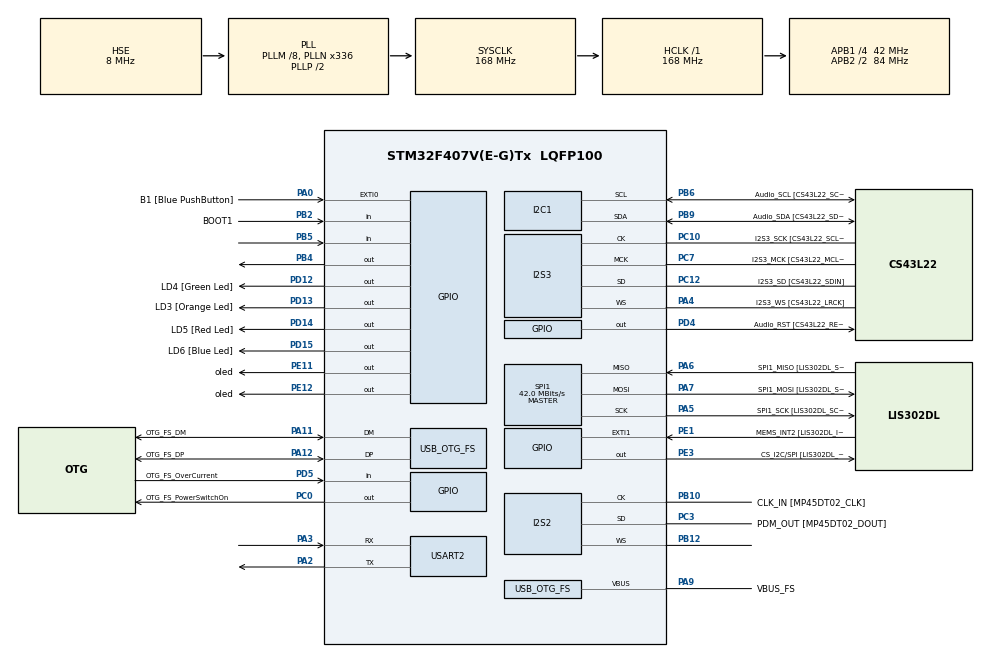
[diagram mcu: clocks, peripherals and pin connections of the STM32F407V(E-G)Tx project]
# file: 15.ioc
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Dma.Request0=SPI2_RX
Dma.Request1=SPI3_TX
Dma.SPI2_RX.0.Direction=DMA_PERIPH_TO_MEMORY
Dma.SPI2_RX.0.FIFOMode=DMA_FIFOMODE_DISABLE
Dma.SPI2_RX.0.Instance=DMA1_Stream3
Dma.SPI2_RX.0.MemDataAlignment=DMA_MDATAALIGN_HALFWORD
Dma.SPI2_RX.0.MemInc=DMA_MINC_ENABLE
Dma.SPI2_RX.0.Mode=DMA_CIRCULAR
Dma.SPI2_RX.0.PeriphDataAlignment=DMA_PDATAALIGN_HALFWORD
Dma.SPI2_RX.0.PeriphInc=DMA_PINC_DISABLE
Dma.SPI2_RX.0.Priority=DMA_PRIORITY_VERY_HIGH
Dma.SPI3_TX.1.Direction=DMA_MEMORY_TO_PERIPH
Dma.SPI3_TX.1.FIFOMode=DMA_FIFOMODE_DISABLE
Dma.SPI3_TX.1.Instance=DMA1_Stream5
Dma.SPI3_TX.1.MemDataAlignment=DMA_MDATAALIGN_HALFWORD
Dma.SPI3_TX.1.MemInc=DMA_MINC_ENABLE
Dma.SPI3_TX.1.Mode=DMA_NORMAL
Dma.SPI3_TX.1.PeriphDataAlignment=DMA_PDATAALIGN_HALFWORD
Dma.SPI3_TX.1.PeriphInc=DMA_PINC_DISABLE
Dma.SPI3_TX.1.Priority=DMA_PRIORITY_HIGH
FREERTOS.Tasks01=defaultTask,24,128,StartDefaultTask,Default,NULL,Dynamic,NULL,NULL
I2S2.AudioFreq=I2S_AUDIOFREQ_44K
I2S2.CPOL=I2S_CPOL_HIGH
I2S2.ErrorAudioFreq=0.26 %
I2S2.FullDuplexMode=I2S_FULLDUPLEXMODE_DISABLE
I2S2.Instance=SPI$Index
I2S2.Mode=I2S_MODE_MASTER_RX
I2S2.RealAudioFreq=44.117 KHz
I2S2.VirtualMode=I2S_MODE_MASTER
I2S3.AudioFreq=I2S_AUDIOFREQ_44K
I2S3.AudioFreq-Half_Duplex_Master=I2S_AUDIOFREQ_96K
I2S3.CPOL=I2S_CPOL_LOW
I2S3.ErrorAudioFreq=-5.3 %
I2S3.ErrorAudioFreq-Half_Duplex_Master=0.8 %
I2S3.FullDuplexMode=I2S_FULLDUPLEXMODE_DISABLE
I2S3.Instance=SPI$Index
I2S3.RealAudioFreq=41.666 KHz
I2S3.RealAudioFreq-Half_Duplex_Master=96.774 KHz
I2S3.VirtualMode=I2S_MODE_MASTER
Mcu.Family=STM32F4
Mcu.Name=STM32F407V(E-G)Tx
Mcu.Package=LQFP100
NVIC.DMA1_Stream3_IRQn=true\:5\:0\:false\:false\:true\:true\:false\:true\:true
NVIC.DMA1_Stream5_IRQn=true\:5\:0\:false\:false\:true\:true\:false\:true\:true
NVIC.OTG_FS_IRQn=true\:5\:0\:false\:false\:true\:true\:true\:true\:true
NVIC.PriorityGroup=NVIC_PRIORITYGROUP_4
NVIC.SPI2_IRQn=true\:5\:0\:false\:false\:true\:true\:true\:true\:true
NVIC.SPI3_IRQn=true\:5\:0\:false\:false\:true\:true\:true\:true\:true
NVIC.TIM8_TRG_COM_TIM14_IRQn=true\:15\:0\:false\:false\:true\:false\:false\:true\:true
NVIC.TimeBase=TIM8_TRG_COM_TIM14_IRQn
NVIC.TimeBaseIP=TIM14
NVIC.USART2_IRQn=true\:5\:0\:false\:false\:true\:true\:true\:true\:true
PA0-WKUP.GPIO_Label=B1 [Blue PushButton]
PA0-WKUP.GPIO_ModeDefaultEXTI=GPIO_MODE_EVT_RISING
PA0-WKUP.GPIO_PuPd=GPIO_NOPULL
PA0-WKUP.Signal=GPXTI0
PA10.GPIO_Label=OTG_FS_ID
PA10.GPIO_Mode=GPIO_MODE_AF_PP
PA10.GPIO_PuPd=GPIO_NOPULL
PA10.GPIO_Speed=GPIO_SPEED_FREQ_LOW
PA10.Signal=USB_OTG_FS_ID
PA11.GPIO_Label=OTG_FS_DM
PA11.GPIO_Mode=GPIO_MODE_AF_PP
PA11.GPIO_PuPd=GPIO_NOPULL
PA11.GPIO_Speed=GPIO_SPEED_FREQ_LOW
PA11.Mode=Host_Only
PA11.Signal=USB_OTG_FS_DM
PA12.GPIO_Label=OTG_FS_DP
PA12.GPIO_Mode=GPIO_MODE_AF_PP
PA12.GPIO_PuPd=GPIO_NOPULL
PA12.GPIO_Speed=GPIO_SPEED_FREQ_LOW
PA12.Mode=Host_Only
PA12.Signal=USB_OTG_FS_DP
PA13.GPIO_Label=SWDIO
PA13.Mode=Serial_Wire
PA13.Signal=SYS_JTMS-SWDIO
PA14.GPIO_Label=SWCLK
PA14.Mode=Serial_Wire
PA14.Signal=SYS_JTCK-SWCLK
PA2.Mode=Asynchronous
PA2.Signal=USART2_TX
PA3.Mode=Asynchronous
PA3.Signal=USART2_RX
PA4.GPIO_Label=I2S3_WS [CS43L22_LRCK]
PA4.GPIO_Mode=GPIO_MODE_AF_PP
PA4.GPIO_PuPd=GPIO_NOPULL
PA4.GPIO_Speed=GPIO_SPEED_FREQ_LOW
PA4.Mode=Half_Duplex_Master
PA4.Signal=I2S3_WS
PA5.GPIO_Label=SPI1_SCK [LIS302DL_SCL/SPC]
PA5.GPIO_Mode=GPIO_MODE_AF_PP
PA5.GPIO_PuPd=GPIO_NOPULL
PA5.GPIO_Speed=GPIO_SPEED_FREQ_LOW
PA5.Mode=Full_Duplex_Master
PA5.Signal=SPI1_SCK
PA6.GPIO_Label=SPI1_MISO [LIS302DL_SDO]
PA6.GPIO_Mode=GPIO_MODE_AF_PP
PA6.GPIO_PuPd=GPIO_NOPULL
PA6.GPIO_Speed=GPIO_SPEED_FREQ_LOW
PA6.Mode=Full_Duplex_Master
PA6.Signal=SPI1_MISO
PA7.GPIO_Label=SPI1_MOSI [LIS302DL_SDA/SDI/SDO]
PA7.GPIO_Mode=GPIO_MODE_AF_PP
PA7.GPIO_PuPd=GPIO_NOPULL
PA7.GPIO_Speed=GPIO_SPEED_FREQ_LOW
PA7.Mode=Full_Duplex_Master
PA7.Signal=SPI1_MOSI
PA9.GPIO_Label=VBUS_FS
PA9.GPIO_Mode=GPIO_MODE_INPUT
PA9.GPIO_PuPd=GPIO_NOPULL
PA9.Mode=Activate_VBUS
PA9.Signal=USB_OTG_FS_VBUS
PB10.GPIO_Label=CLK_IN [MP45DT02_CLK]
PB10.GPIO_Mode=GPIO_MODE_AF_PP
PB10.GPIO_PuPd=GPIO_NOPULL
PB10.GPIO_Speed=GPIO_SPEED_FREQ_LOW
PB10.Mode=Half_Duplex_Master
PB10.Signal=I2S2_CK
PB12.Mode=Half_Duplex_Master
PB12.Signal=I2S2_WS
PB2.GPIO_Label=BOOT1
PB2.GPIO_Mode=GPIO_MODE_INPUT
PB2.GPIO_PuPd=GPIO_NOPULL
PB2.Signal=GPIO_Input
PB3.GPIO_Label=SWO
PB3.Signal=SYS_JTDO-SWO
PB4.Signal=GPIO_Output
PB5.GPIO_PuPd=GPIO_PULLDOWN
PB5.Signal=GPIO_Input
PB6.GPIO_Label=Audio_SCL [CS43L22_SCL]
PB6.GPIO_Mode=GPIO_MODE_AF_OD
PB6.GPIO_Pu=GPIO_NOPULL
PB6.GPIO_PuPd=GPIO_NOPULL
PB6.GPIO_Speed=GPIO_SPEED_FREQ_LOW
PB6.Mode=I2C
PB6.Signal=I2C1_SCL
PB9.GPIO_Label=Audio_SDA [CS43L22_SDA]
PB9.GPIO_Mode=GPIO_MODE_AF_OD
PB9.GPIO_Pu=GPIO_NOPULL
PB9.GPIO_PuPd=GPIO_NOPULL
PB9.GPIO_Speed=GPIO_SPEED_FREQ_LOW
PB9.Mode=I2C
PB9.Signal=I2C1_SDA
PC0.GPIO_Label=OTG_FS_PowerSwitchOn
PC0.GPIO_PuPd=GPIO_NOPULL
PC0.GPIO_Speed=GPIO_SPEED_FREQ_LOW
PC0.PinState=GPIO_PIN_SET
PC0.Signal=GPIO_Output
PC10.GPIO_Label=I2S3_SCK [CS43L22_SCLK]
PC10.GPIO_Mode=GPIO_MODE_AF_PP
PC10.GPIO_PuPd=GPIO_NOPULL
PC10.GPIO_Speed=GPIO_SPEED_FREQ_LOW
PC10.Mode=Half_Duplex_Master
PC10.Signal=I2S3_CK
PC12.GPIO_Label=I2S3_SD [CS43L22_SDIN]
PC12.GPIO_Mode=GPIO_MODE_AF_PP
PC12.GPIO_PuPd=GPIO_NOPULL
PC12.GPIO_Speed=GPIO_SPEED_FREQ_LOW
PC12.Mode=Half_Duplex_Master
PC12.Signal=I2S3_SD
PC14-OSC32_IN.GPIO_Label=PC14-OSC32_IN
PC14-OSC32_IN.Mode=LSE-External-Oscillator
PC14-OSC32_IN.Signal=RCC_OSC32_IN
PC15-OSC32_OUT.GPIO_Label=PC15-OSC32_OUT
PC15-OSC32_OUT.Mode=LSE-External-Oscillator
PC15-OSC32_OUT.Signal=RCC_OSC32_OUT
PC3.GPIO_Label=PDM_OUT [MP45DT02_DOUT]
PC3.GPIO_Mode=GPIO_MODE_AF_PP
PC3.GPIO_PuPd=GPIO_NOPULL
PC3.GPIO_Speed=GPIO_SPEED_FREQ_LOW
PC3.Mode=Half_Duplex_Master
PC3.Signal=I2S2_SD
PC7.GPIO_Label=I2S3_MCK [CS43L22_MCLK]
PC7.GPIO_Mode=GPIO_MODE_AF_PP
PC7.GPIO_PuPd=GPIO_NOPULL
PC7.GPIO_Speed=GPIO_SPEED_FREQ_LOW
PC7.Mode=Master_Clock_Activated
PC7.Signal=I2S3_MCK
PD12.GPIO_Label=LD4 [Green Led]
PD12.GPIO_PuPd=GPIO_NOPULL
PD12.GPIO_Speed=GPIO_SPEED_FREQ_LOW
PD12.Signal=GPIO_Output
PD13.GPIO_Label=LD3 [Orange Led]
PD13.GPIO_PuPd=GPIO_NOPULL
PD13.GPIO_Speed=GPIO_SPEED_FREQ_LOW
PD13.Signal=GPIO_Output
PD14.GPIO_Label=LD5 [Red Led]
PD14.GPIO_PuPd=GPIO_NOPULL
PD14.GPIO_Speed=GPIO_SPEED_FREQ_LOW
PD14.Signal=GPIO_Output
PD15.GPIO_Label=LD6 [Blue Led]
PD15.GPIO_PuPd=GPIO_NOPULL
PD15.GPIO_Speed=GPIO_SPEED_FREQ_LOW
PD15.Signal=GPIO_Output
PD4.GPIO_Label=Audio_RST [CS43L22_RESET]
PD4.GPIO_PuPd=GPIO_NOPULL
PD4.GPIO_Speed=GPIO_SPEED_FREQ_LOW
PD4.Signal=GPIO_Output
PD5.GPIO_Label=OTG_FS_OverCurrent
PD5.GPIO_Mode=GPIO_MODE_INPUT
PD5.GPIO_PuPd=GPIO_NOPULL
PD5.Signal=GPIO_Input
PE1.GPIO_Label=MEMS_INT2 [LIS302DL_INT2]
PE1.GPIO_ModeDefaultEXTI=GPIO_MODE_EVT_RISING
PE1.GPIO_PuPd=GPIO_NOPULL
PE1.Signal=GPXTI1
PE11.GPIO_Label=oled
PE11.GPIO_PuPd=GPIO_PULLUP
PE11.GPIO_Speed=GPIO_SPEED_FREQ_HIGH
PE11.PinState=GPIO_PIN_SET
PE11.Signal=GPIO_Output
PE12.GPIO_Label=oled
PE12.GPIO_PuPd=GPIO_PULLUP
PE12.GPIO_Speed=GPIO_SPEED_FREQ_HIGH
PE12.PinState=GPIO_PIN_SET
PE12.Signal=GPIO_Output
PE3.GPIO_Label=CS_I2C/SPI [LIS302DL_CS_I2C/SPI]
PE3.GPIO_PuPd=GPIO_NOPULL
PE3.GPIO_Speed=GPIO_SPEED_FREQ_LOW
PE3.Signal=GPIO_Output
PH0-OSC_IN.GPIO_Label=PH0-OSC_IN
PH0-OSC_IN.Mode=HSE-External-Oscillator
PH0-OSC_IN.Signal=RCC_OSC_IN
PH1-OSC_OUT.GPIO_Label=PH1-OSC_OUT
PH1-OSC_OUT.Mode=HSE-External-Oscillator
PH1-OSC_OUT.Signal=RCC_OSC_OUT
ProjectManager.HeapSize=0x200
ProjectManager.StackSize=0x400
ProjectManager.TargetToolchain=STM32CubeIDE
RCC.48MHZClocksFreq_Value=48000000
RCC.AHBFreq_Value=168000000
RCC.APB1CLKDivider=RCC_HCLK_DIV4
RCC.APB1Freq_Value=42000000
RCC.APB1TimFreq_Value=84000000
RCC.APB2CLKDivider=RCC_HCLK_DIV2
RCC.APB2Freq_Value=84000000
RCC.APB2TimFreq_Value=168000000
RCC.CortexFreq_Value=168000000
RCC.HCLKFreq_Value=168000000
RCC.HSE_VALUE=8000000
RCC.HSI_VALUE=16000000
RCC.PLLM=8
RCC.PLLN=336
RCC.PLLQ=7
RCC.SYSCLKFreq_VALUE=168000000
RCC.SYSCLKSource=RCC_SYSCLKSOURCE_PLLCLK
RCC.VCOOutputFreq_Value=336000000
SPI1.BaudRatePrescaler-Full_Duplex_Master=SPI_BAUDRATEPRESCALER_2
SPI1.CalculateBaudRate=42.0 MBits/s
SPI1.CalculateBaudRate-Full_Duplex_Master=42.0 MBits/s
SPI1.Direction=SPI_DIRECTION_2LINES
SPI1.Mode=SPI_MODE_MASTER
SPI1.Mode-Full_Duplex_Master=SPI_MODE_MASTER
SPI1.VirtualType=VM_MASTER
USART2.VirtualMode=VM_ASYNC
USB_HOST.BSP.number=1
USB_HOST.USBH_HandleTypeDef-CDC_FS=hUsbHostFS
USB_HOST.VirtualModeFS=Cdc
USB_HOST0.BSP.STBoard=false
USB_HOST0.BSP.api=Unknown
USB_HOST0.BSP.instance=PC0
USB_HOST0.BSP.ip=GPIO
USB_HOST0.BSP.mode=Output
USB_HOST0.BSP.name=Drive_VBUS_FS
USB_HOST0.BSP.solution=PC0
USB_OTG_FS.VirtualMode=Host_Only
USB_OTG_FS.phy_itface=HCD_PHY_EMBEDDED
VP_FREERTOS_VS_CMSIS_V2.Mode=CMSIS_V2
VP_SYS_VS_tim14.Mode=TIM14
VP_USB_HOST_VS_USB_HOST_CDC_FS.Mode=CDC_FS
board=STM32F407G-DISC1

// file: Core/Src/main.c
/**
 * @file    main.c
 * @brief   离线语音控制小车 — FreeRTOS多任务 + 纯C CNN推理
 * @author  北京林业大学 理学院 无敌小车车
 * @advisor 张立
 */
#include "main.h"
#include "cmsis_os.h"
#include "dma.h"
#include "i2c.h"
#include "i2s.h"
#include "spi.h"
#include "usart.h"
#include "usb_host.h"
#include "gpio.h"

/* USER CODE BEGIN Includes */
#include "stm32f4_discovery.h"
#include "stm32f4_discovery_audio.h"
#include "stm32f4_discovery_accelerometer.h"
#include "pdm2pcm_glo.h"  /* 保留（BSP音频库依赖） */
#include <string.h>
#include <stdbool.h>
#include <math.h>
#include <stdarg.h>
#include <stdio.h>
#include "OLED.h"
#include "hcsr04.h"

#include "mel_spectrogram.h"
#include "inference.h"
#include "model_weights.h"
#include "motor.h"
#include "model_loader.h"
#include "serial_protocol.h"
#include "flash_update.h"

/* USER CODE BEGIN PD */
#define AUDIO_SAMPLING_FREQUENCY        32000
#define AUDIO_VOLUME                    100

#define PCM_SUB_BUFFER_SIZE             512   /* >= MEL_HOP_SIZE*2 for mel spectrogram */
#define ADC_BUFFER_SIZE                 6144  /* 12KB 缓冲区 */

#define HIGH_PASS_TAP                   2122358088

/* ADC (MAX9814 模拟麦克风) */
#define ADC_PIN                         GPIO_PIN_0
#define ADC_PORT                        GPIOB
#define ADC_CHANNEL                     ADC_CHANNEL_8

/* USER CODE END PD */

/* USER CODE BEGIN PM */
extern DMA_HandleTypeDef hdma_i2s3_ext_rx;  /* 保留（BSP依赖） */
extern I2S_HandleTypeDef hi2s2;              /* 保留（BSP依赖） */
/* USER CODE END PM */

/* USER CODE BEGIN PV */
volatile int current_label = 1;

/* ADC 双缓冲（MAX9814 模拟麦克风） */
static uint16_t adc_buffer[ADC_BUFFER_SIZE];
static TIM_HandleTypeDef htim2;

bool is_recording_active = false;

int16_t pcm_play_buffer[2][PCM_SUB_BUFFER_SIZE * 2];
volatile uint8_t play_active_buffer = 0;
volatile uint8_t play_next_ready = 0;

int16_t pcm_mono_buffer[PCM_SUB_BUFFER_SIZE];

volatile bool adc_half_ready = false;
volatile bool adc_full_ready = false;

/* 诊断：每 N 次打印一次统计 */
static volatile uint32_t diag_counter = 0;
#define DIAG_INTERVAL  100  /* 每100个半缓冲区打印一次 */

typedef enum {
    STATE_IDLE = 0,
    STATE_RECORDING
} RecordState_t;

volatile RecordState_t record_state = STATE_IDLE;
volatile bool button_pressed = false;
volatile uint8_t serial_mel_output_enabled = 1;

volatile SystemState_t system_state = SYS_OFF;
volatile CarCommand_t  car_command   = CMD_NONE;
volatile float         ultrasonic_distance = 999.0f;
volatile int16_t       accel_xyz[3] = {0};
volatile char          last_inference_label[24] = "none";
volatile char          last_confirmed_label[24] = "---";
volatile float         last_confidence = 0.0f;
volatile float         confirmed_confidence = 0.0f;
volatile uint32_t      last_inference_us = 0;
volatile int           infer_reset_flag = 0;

#define LISTENING_DURATION_MS  3000
#define OBSTACLE_THRESHOLD_MM   100

static const char* cmd_name[] = {"NONE","FORWARD","BACKWARD","TURN","START","STOP"};
static volatile float current_rms = 0.0f;
static volatile float current_agc_gain = 1.0f;
/* USER CODE END PV */

void SystemClock_Config(void);
void PeriphCommonClock_Config(void);
void MX_FREERTOS_Init(void);
/* USER CODE BEGIN PFP */
static void ProcessAudio(void);
static void uart_printf(const char* fmt, ...);

static void safe_strncpy_volatile(volatile char *dest, const char *src, size_t n)
{
    for (size_t i = 0; i < n && src[i] != '\0'; i++)
        dest[i] = src[i];
    if (n > 0) dest[n-1] = '\0';
}
/* USER CODE END PFP */

/* USER CODE BEGIN 0 */

/**
  * @brief 音频系统初始化 — ADC 模拟麦克风 + I2S3 播放
  */
static void ADC_Mic_Init(void);

static void Audio_Init(void)
{
  /* ── 诊断：打印音频配置参数 ── */
  uart_printf("\n[AUDIO] ====== 音频配置 ======\n");
  uart_printf("[AUDIO] SAMPLING_FREQ=%d\n", AUDIO_SAMPLING_FREQUENCY);
  uart_printf("[AUDIO] PCM_BUF=%d\n", PCM_SUB_BUFFER_SIZE);
  uart_printf("[AUDIO] INPUT=ADC (MAX9814 on PB0)\n");

  /* 验证 PLLI2S 时钟 */
  RCC_PeriphCLKInitTypeDef clkchk;
  HAL_RCCEx_GetPeriphCLKConfig(&clkchk);
  uint32_t plln = clkchk.PLLI2S.PLLI2SN;
  uint32_t pllr = clkchk.PLLI2S.PLLI2SR;
  uart_printf("[AUDIO] PLLI2SN=%lu PLLI2SR=%lu\n", plln, pllr);

  uint32_t i2sclk = 1000000UL * plln / pllr;
  uart_printf("[AUDIO] I2SCLK=%lu Hz\n", i2sclk);

  /* I2S3 播放验算 */
  uint32_t tmp_out = (((i2sclk / 256) * 10) / AUDIO_SAMPLING_FREQUENCY + 5) / 10;
  uint32_t odd_out = tmp_out & 1;
  uint32_t div_out = (tmp_out - odd_out) / 2;
  uart_printf("[AUDIO] I2S3: tmp=%lu div=%lu odd=%lu\n", tmp_out, div_out, odd_out);
  if (div_out < 2)
    uart_printf("[AUDIO] !! I2S3 div<2 -> HAL_ERROR !!\n");

  uart_printf("[AUDIO] ========================\n");

  /* 1. 初始化 ADC 麦克风 */
  ADC_Mic_Init();

  /* 2. 初始化音频输出（耳机） */
  if (BSP_AUDIO_OUT_Init(OUTPUT_DEVICE_HEADPHONE, AUDIO_VOLUME, AUDIO_SAMPLING_FREQUENCY) != AUDIO_OK)
  {
    while (1) { BSP_LED_Toggle(LED4); HAL_Delay(100); }
  }

  /* 3. 启动播放 */
  memset(pcm_play_buffer[0], 0, PCM_SUB_BUFFER_SIZE * 2 * sizeof(int16_t));
  BSP_AUDIO_OUT_Play((uint16_t*)pcm_play_buffer[0], PCM_SUB_BUFFER_SIZE * 2 * sizeof(int16_t));
}

/**
  * @brief ADC1 (PB0) + DMA + TIM2 初始化（直接寄存器操作）
  *        TIM2 触发 16kHz 采样，DMA 循环填充 adc_buffer
  */
static void ADC_Mic_Init(void)
{
  /* GPIO: PB0 模拟输入 */
  __HAL_RCC_GPIOB_CLK_ENABLE();
  GPIO_InitTypeDef gpio = {0};
  gpio.Pin  = ADC_PIN;
  gpio.Mode = GPIO_MODE_ANALOG;
  gpio.Pull = GPIO_NOPULL;
  HAL_GPIO_Init(ADC_PORT, &gpio);

  /* DMA 清除 */
  __HAL_RCC_DMA2_CLK_ENABLE();
  DMA2_Stream0->CR  = 0;
  for (volatile int t = 0; t < 10000 && (DMA2_Stream0->CR & DMA_SxCR_EN); t++);
  DMA2_Stream0->PAR  = (uint32_t)&ADC1->DR;
  DMA2_Stream0->M0AR = (uint32_t)adc_buffer;
  DMA2_Stream0->NDTR = ADC_BUFFER_SIZE;
  DMA2_Stream0->CR   = DMA_PDATAALIGN_HALFWORD
                      | DMA_MDATAALIGN_HALFWORD
                      | DMA_MINC_ENABLE
                      | DMA_CIRCULAR
                      | DMA_PRIORITY_HIGH
                      | DMA_SxCR_HTIE           /* Half-transfer interrupt */
                      | DMA_SxCR_TCIE;          /* Transfer-complete interrupt */
  /* 显式设置 Channel 0（清 bits 27:25） */
  DMA2_Stream0->CR &= ~(0x07 << 25);
  DMA2_Stream0->CR |= DMA_SxCR_EN;

  /* NVIC: DMA2 Stream0 */
  HAL_NVIC_SetPriority(DMA2_Stream0_IRQn, 6, 0);
  HAL_NVIC_EnableIRQ(DMA2_Stream0_IRQn);

  /* ADC1 校准（用最小配置） */
  __HAL_RCC_ADC1_CLK_ENABLE();
  ADC1->CR1 = 0;
  ADC1->CR2 = (1 << 0);  /* 仅 ADON */
  for (volatile int d = 0; d < 10000; d++);
  ADC1->CR2 |= (1 << 3);
  for (volatile int t = 0; t < 100000 && (ADC1->CR2 & (1 << 3)); t++);
  ADC1->CR2 |= (1 << 2);
  for (volatile int t = 0; t < 100000 && (ADC1->CR2 & (1 << 2)); t++);

  /* ADC1 最终配置：连续转换 + DMA */
  ADC1->CR1 = 0;
  ADC1->SMPR2 = (0x04 << 24);  /* Ch8: 84 cycles (42MHz/96=437.5kHz, buf=2.34ms) */
  ADC1->SQR1 = 0;              /* 1 conversion */
  ADC1->SQR3 = 8;              /* Ch8 */
  ADC1->CR2 = (1 << 0)         /* ADON */
            | (1 << 1)          /* CONT: 连续转换 */
            | (1 << 8)          /* DMA */
            | (1 << 9);         /* DDS */

  /* 启动 ADC 连续转换 + DMA */
  ADC1->CR2 |= (1 << 30);      /* SWSTART */
}

/* DMA2 Stream0 中断（直接检查标志，无需 HAL ADC 库） */
void DMA2_Stream0_IRQHandler(void)
{
  uint32_t lisr = DMA2->LISR;
  if (lisr & DMA_LISR_TCIF0)  /* Transfer complete */
  {
    DMA2->LIFCR = DMA_LIFCR_CTCIF0;
    adc_full_ready = true;
  }
  if (lisr & DMA_LISR_HTIF0)  /* Half transfer */
  {
    DMA2->LIFCR = DMA_LIFCR_CHTIF0;
    adc_half_ready = true;
  }
}

/**
  * @brief 音频后处理：RMS-AGC + 噪声门限
  *        RMS检测 + 极慢时间常数，避免尖锐失真
  *        目标使远距离（1.7-5m）增益到近距离（40cm）音量水平
  */
#define AGC_RMS_TARGET    1500
#define AGC_MIN_GAIN      0.3f
#define AGC_MAX_GAIN      5.0f
#define AGC_NOISE_FLOOR   500    /* RMS低于此视为静音，不更新增益 */

static void ApplyAudioProcessing(int16_t *pcm, uint32_t size)
{
    static float agc_gain = 1.0f;
    static float smooth_rms = 0.0f;
    float sum_sq = 0.0f;

    for (uint32_t i = 0; i < size; i++)
    {
        int32_t s = pcm[i];
        sum_sq += (float)(s * s);
    }
    float rms = sqrtf(sum_sq / (float)size);

    /* 慢速RMS平滑 */
    float coeff = (rms > smooth_rms) ? 0.02f : 0.10f;
    smooth_rms = smooth_rms * (1.0f - coeff) + rms * coeff;
    current_rms = smooth_rms;

    /* AGC 增益：目标 RMS 3200 */
    if (smooth_rms > AGC_NOISE_FLOOR)
    {
        float desired = (float)AGC_RMS_TARGET / (smooth_rms + 1.0f);
        if (desired < AGC_MIN_GAIN) desired = AGC_MIN_GAIN;
        if (desired > AGC_MAX_GAIN) desired = AGC_MAX_GAIN;
        agc_gain = agc_gain * 0.75f + desired * 0.25f;
    }
    current_agc_gain = agc_gain;

    /* 静音门限 + 增益应用 */
    for (uint32_t i = 0; i < size; i++)
    {
        int32_t processed;
        if (pcm[i] > -AGC_NOISE_FLOOR && pcm[i] < AGC_NOISE_FLOOR)
            processed = 0;
        else
            processed = (int32_t)(pcm[i] * agc_gain);

        if (processed > 32767)  processed = 32767;
        if (processed < -32768) processed = -32768;
        pcm[i] = (int16_t)processed;
    }
}

/**
  * @brief 单声道转立体声
  */
static void MonoToStereo(const int16_t *mono, int16_t *stereo, uint32_t mono_len)
{
    for (uint32_t i = 0; i < mono_len; i++)
    {
        stereo[i * 2]     = mono[i];
        stereo[i * 2 + 1] = mono[i];
    }
}

/**
  * @brief 用户按钮按下回调
  */
void BSP_PB_Callback(Button_TypeDef Button)
{
    (void)Button;
}

static uint8_t uart_rx_byte;

void HAL_UART_RxCpltCallback(UART_HandleTypeDef *huart)
{
    if (huart->Instance == USART2)
    {
        SerialProtocol_RxByte(uart_rx_byte);
        HAL_UART_Receive_IT(&huart2, &uart_rx_byte, 1);
    }
}

/* USER CODE END 0 */

int main(void)
{

  /* MCU Configuration--------------------------------------------------------*/

  /* Reset of all peripherals, Initializes the Flash interface and the Systick. */
  HAL_Init();

  /* Configure the system clock */
  SystemClock_Config();

  /* Configure the peripherals common clocks */
  PeriphCommonClock_Config();

  /* Initialize all configured peripherals */
  MX_GPIO_Init();
  MX_DMA_Init();
  MX_I2C1_Init();
  MX_I2S2_Init();
  MX_I2S3_Init();
  MX_SPI1_Init();
  MX_USART2_UART_Init();
  /* USER CODE BEGIN 2 */
  BSP_LED_Init(LED3);
  BSP_LED_Init(LED4);
  BSP_LED_Init(LED5);
  BSP_LED_Init(LED6);

  CoreDebug->DEMCR |= CoreDebug_DEMCR_TRCENA_Msk;
  DWT->CYCCNT = 0;
  DWT->CTRL |= DWT_CTRL_CYCCNTENA_Msk;

  OLED_Init();
  OLED_Clear();
  OLED_Printf(0, 0, OLED_8X16, "Audio System");
  OLED_Printf(0, 16, OLED_6X8, "Ready...");
  OLED_Update();

  /* LED 快速闪烁指示初始化 */
  BSP_LED_On(LED3); BSP_LED_On(LED4); BSP_LED_On(LED5); BSP_LED_On(LED6);
  HAL_Delay(200);
  BSP_LED_Off(LED3); BSP_LED_Off(LED4); BSP_LED_Off(LED5); BSP_LED_Off(LED6);

  BSP_PB_Init(BUTTON_KEY, BUTTON_MODE_EXTI);

  Audio_Init();
  MelSpectrogram_Init();
  Inference_Init();
  ModelLoader_Init();
  ModelLoader_DumpModelInfo("BOOT");  /* 启动自检：打印 SE 权重指针 + 前几个值，便于排查错位 */

  if (g_active_model.source == MODEL_SOURCE_COMPILE)
    BSP_LED_On(LED6);
  else
    BSP_LED_Off(LED6);
  SerialProtocol_Init();
  FlashUpdate_Init();
  HAL_UART_Receive_IT(&huart2, &uart_rx_byte, 1);
  BSP_ACCELERO_Init();
  Motor_Init();
  Motor_Stop();

  /* USER CODE END 2 */

  /* Init scheduler */
  osKernelInitialize();  /* Call init function for freertos objects (in cmsis_os2.c) */
  MX_FREERTOS_Init();

  /* Start scheduler */
  osKernelStart();

  /* We should never get here as control is now taken by the scheduler */

  /* Infinite loop */
  while (1)
  {

    /* USER CODE BEGIN 3 */
    /* 主循环逻辑已迁移至 4 个 FreeRTOS 任务中并行运行 */
  }
  /* USER CODE END 3 */
}

void SystemClock_Config(void)
{
  RCC_OscInitTypeDef RCC_OscInitStruct = {0};
  RCC_ClkInitTypeDef RCC_ClkInitStruct = {0};

  /** Configure the main internal regulator output voltage
  */
  __HAL_RCC_PWR_CLK_ENABLE();
  __HAL_PWR_VOLTAGESCALING_CONFIG(PWR_REGULATOR_VOLTAGE_SCALE1);

  /** Initializes the RCC Oscillators according to the specified parameters
  * in the RCC_OscInitTypeDef structure.
  */
  RCC_OscInitStruct.OscillatorType = RCC_OSCILLATORTYPE_HSE;
  RCC_OscInitStruct.HSEState = RCC_HSE_ON;
  RCC_OscInitStruct.PLL.PLLState = RCC_PLL_ON;
  RCC_OscInitStruct.PLL.PLLSource = RCC_PLLSOURCE_HSE;
  RCC_OscInitStruct.PLL.PLLM = 8;
  RCC_OscInitStruct.PLL.PLLN = 336;
  RCC_OscInitStruct.PLL.PLLP = RCC_PLLP_DIV2;
  RCC_OscInitStruct.PLL.PLLQ = 7;
  if (HAL_RCC_OscConfig(&RCC_OscInitStruct) != HAL_OK)
  {
    Error_Handler();
  }

  /** Initializes the CPU, AHB and APB buses clocks
  */
  RCC_ClkInitStruct.ClockType = RCC_CLOCKTYPE_HCLK|RCC_CLOCKTYPE_SYSCLK
                              |RCC_CLOCKTYPE_PCLK1|RCC_CLOCKTYPE_PCLK2;
  RCC_ClkInitStruct.SYSCLKSource = RCC_SYSCLKSOURCE_PLLCLK;
  RCC_ClkInitStruct.AHBCLKDivider = RCC_SYSCLK_DIV1;
  RCC_ClkInitStruct.APB1CLKDivider = RCC_HCLK_DIV4;
  RCC_ClkInitStruct.APB2CLKDivider = RCC_HCLK_DIV2;

  if (HAL_RCC_ClockConfig(&RCC_ClkInitStruct, FLASH_LATENCY_5) != HAL_OK)
  {
    Error_Handler();
  }
}

void PeriphCommonClock_Config(void)
{
  RCC_PeriphCLKInitTypeDef PeriphClkInitStruct = {0};

  /** Initializes the peripherals clock
  */
  PeriphClkInitStruct.PeriphClockSelection = RCC_PERIPHCLK_I2S;
  PeriphClkInitStruct.PLLI2S.PLLI2SN = 256;
  PeriphClkInitStruct.PLLI2S.PLLI2SR = 1;
  if (HAL_RCCEx_PeriphCLKConfig(&PeriphClkInitStruct) != HAL_OK)
  {
    Error_Handler();
  }
}

void BSP_AUDIO_IN_ClockConfig(I2S_HandleTypeDef *hi2s, uint32_t AudioFreq, void *Params)
{
    RCC_PeriphCLKInitTypeDef rccclkinit;
    HAL_RCCEx_GetPeriphCLKConfig(&rccclkinit);
    rccclkinit.PeriphClockSelection = RCC_PERIPHCLK_I2S;
    rccclkinit.PLLI2S.PLLI2SN = 256;
    rccclkinit.PLLI2S.PLLI2SR = 1;
    HAL_RCCEx_PeriphCLKConfig(&rccclkinit);
}

void BSP_AUDIO_OUT_ClockConfig(I2S_HandleTypeDef *hi2s, uint32_t AudioFreq, void *Params)
{
    RCC_PeriphCLKInitTypeDef rccclkinit;
    HAL_RCCEx_GetPeriphCLKConfig(&rccclkinit);
    rccclkinit.PeriphClockSelection = RCC_PERIPHCLK_I2S;
    rccclkinit.PLLI2S.PLLI2SN = 256;
    rccclkinit.PLLI2S.PLLI2SR = 1;
    HAL_RCCEx_PeriphCLKConfig(&rccclkinit);
}
/* USER CODE BEGIN 4 */
/**
  * @brief 串口格式化输出函数
  * @details 通过USART2发送格式化字符串，支持可变参数
  * @param fmt 格式化字符串
  * @param ... 可变参数列表
  * @retval 无
  * @note 使用USART2，波特率921600
  * @warning 内部缓冲区大小为128字节，超过会被截断
  */
void uart_printf(const char* fmt, ...)
{
    uint8_t send_buf[512] = {0};  /* 发送缓冲区 */
    va_list args;                 /* 可变参数列表 */
    va_start(args, fmt);          /* 初始化可变参数 */
    vsnprintf((char*)send_buf, sizeof(send_buf)-1, fmt, args);  /* 格式化字符串 */
    va_end(args);                 /* 结束可变参数处理 */
    HAL_UART_Transmit(&huart2, send_buf, strlen((char*)send_buf), HAL_MAX_DELAY);  /* 发送数据 */
}

/* 录音 I2S 时钟配置重写（固定 16kHz） */

static void ProcessAudio(void)
{
  int16_t *pcm_mono = pcm_mono_buffer;
  int16_t *pcm_stereo;
  uint8_t target_buffer;

  /* 轮询 DMA NDTR 获取 ADC 数据（连续模式，~168kHz ADC → 16kHz 降采样） */
  /* 轮询 DMA NDTR，5:1 直接抽取（保留高频） */
  static uint16_t last_pos = 0;
  static uint16_t sample_idx = 0;
  static uint16_t skip = 0;

  uint16_t pos = (uint16_t)(ADC_BUFFER_SIZE - DMA2_Stream0->NDTR);
  uint16_t available = (uint16_t)((pos - last_pos + ADC_BUFFER_SIZE) % ADC_BUFFER_SIZE);
  if (available == 0) return;

  for (uint16_t i = 0; i < available; i++)
  {
    uint16_t idx = (last_pos + i) % ADC_BUFFER_SIZE;
    if (++skip >= 26)  /*26:1: 437.5kHz/ = 16.25kHz (匹配32kHz播放) */
    {
      skip = 0;
      pcm_mono[sample_idx++] = (int16_t)((int32_t)adc_buffer[idx] - 2048);
      if (sample_idx >= PCM_SUB_BUFFER_SIZE)
      {
        /* 暂时禁用所有滤波，测试原始数据 */

        /* ApplyAudioProcessing(pcm_mono, PCM_SUB_BUFFER_SIZE); */

        /* 计算 RMS */
        {
          float sum_sq = 0.0f;
          for (int k = 0; k < PCM_SUB_BUFFER_SIZE; k++)
            sum_sq += (float)pcm_mono[k] * pcm_mono[k];
          current_rms = sqrtf(sum_sq / PCM_SUB_BUFFER_SIZE);
        }

        /* 平滑噪声门：RMS<200 时逐步衰减 */
        {
          static float gate_gain = 1.0f;
          float target = (current_rms >= 100.0f) ? 1.0f : 0.0f;
          /* 快速打开(0.2)，慢速关闭(0.01) */
          float alpha = (target > gate_gain) ? 0.2f : 0.01f;
          gate_gain += alpha * (target - gate_gain);
          for (int k = 0; k < PCM_SUB_BUFFER_SIZE; k++)
            pcm_mono[k] = (int16_t)(pcm_mono[k] * gate_gain);
        }

        MelSpectrogram_ProcessBlock(pcm_mono, PCM_SUB_BUFFER_SIZE);

        target_buffer = play_active_buffer ^ 1;
        pcm_stereo = pcm_play_buffer[target_buffer];
        MonoToStereo(pcm_mono, pcm_stereo, PCM_SUB_BUFFER_SIZE);
        __disable_irq();
        play_next_ready = 1;
        __enable_irq();
        BSP_LED_Toggle(LED4);
        sample_idx = 0;
      }
    }
  }
  last_pos = pos;
}

/* I2S2 录音回调（不再使用，保留空实现） */
void BSP_AUDIO_IN_HalfTransfer_CallBack(void) {}
void BSP_AUDIO_IN_TransferComplete_CallBack(void) {}
void BSP_AUDIO_IN_Error_Callback(void) {}

/* 播放回调 */
void BSP_AUDIO_OUT_HalfTransfer_CallBack(void) {}

void BSP_AUDIO_OUT_TransferComplete_CallBack(void)
{
  uint8_t next_ready;
  __disable_irq();
  next_ready = play_next_ready;
  if (next_ready) {
    play_next_ready = 0;
  }
  __enable_irq();

  if (next_ready)
  {
    play_active_buffer ^= 1;
    BSP_AUDIO_OUT_ChangeBuffer((uint16_t*)pcm_play_buffer[play_active_buffer],
                               PCM_SUB_BUFFER_SIZE * 2);
  }
  else
  {
    BSP_AUDIO_OUT_ChangeBuffer((uint16_t*)pcm_play_buffer[play_active_buffer],
                               PCM_SUB_BUFFER_SIZE * 2);
  }
}

/* 错误回调 */
void BSP_AUDIO_OUT_Error_CallBack(void) { while(1); }

static osMessageQueueId_t infCmdQueue;
static osMessageQueueId_t carCmdQueue;

void App_InitQueues(void)
{
  infCmdQueue = osMessageQueueNew(16, sizeof(CarCommand_t), NULL);
  carCmdQueue = osMessageQueueNew(16, sizeof(CarCommand_t), NULL);
}

void AudioTaskEntry(void *argument)
{
  MX_USB_HOST_Init();
  for (;;)
  {
    ProcessAudio();
    osDelay(1);
  }
}

#define INF_HIST_SIZE 3
static int inf_hist_buf[INF_HIST_SIZE];
static int inf_hist_write = 0;
static float prev_probs[MODEL_MAX_CLASSES];

static void InfHist_Push(int label)
{
  inf_hist_buf[inf_hist_write] = label;
  inf_hist_write = (inf_hist_write + 1) % INF_HIST_SIZE;
}

static inline int IsNoise(int idx)
{
  return (CarCommand_t)g_active_model.class_map[idx] == CMD_NONE;
}

static int FindNoiseIdx(void)
{
  for (int i = 0; i < (int)g_active_model.num_classes; i++)
    if (IsNoise(i)) return i;
  return g_active_model.num_classes - 1;
}

static int InfHist_HasNonNoise(void)
{
  for (int i = 0; i < INF_HIST_SIZE; i++)
    if (!IsNoise(inf_hist_buf[i]))
      return 1;
  return 0;
}

/* 按 CMD 编号聚合投票：多类可映射到同一命令（如 pai1+start → CMD_START） */
static int InfHist_DominantCmd(void)
{
  int cnt[MODEL_MAX_CLASSES] = {0};
  int cmd_best_class[MODEL_MAX_CLASSES] = {0};
  for (int i = 0; i < INF_HIST_SIZE; i++)
  {
    int lbl = inf_hist_buf[i];
    if (lbl >= 0 && lbl < (int)g_active_model.num_classes && !IsNoise(lbl)) {
      int cmd_idx = (int)g_active_model.class_map[lbl];
      if (cmd_idx >= 0 && cmd_idx < MODEL_MAX_CLASSES) {
        cnt[cmd_idx]++;
        cmd_best_class[cmd_idx] = lbl;
      }
    }
  }

  int best = -1, best_cnt = 0;
  for (int c = 0; c < MODEL_MAX_CLASSES; c++)
  {
    if (cnt[c] > best_cnt)
    {
      best_cnt = cnt[c];
      best = cmd_best_class[c];
    }
  }

  /* 3帧中需>=2帧为同一命令（约67%，取59%兼容浮点） */
  if (best >= 0 && best_cnt * 100 >= INF_HIST_SIZE * 59)
    return best;
  return -1;
}

static void InfHist_Print(void)
{
  uart_printf("[");
  for (int i = 0; i < INF_HIST_SIZE; i++)
  {
    int idx = (inf_hist_write + i) % INF_HIST_SIZE;
    uart_printf("%s", g_active_model.class_names[inf_hist_buf[idx]]);
    if (i < INF_HIST_SIZE - 1) uart_printf(" ");
  }
  uart_printf("]");
}

void InferenceTaskEntry(void *argument)
{
  static float inf_win[INF_FRAME_WINDOW * INF_MEL_FILTERS];
  static int inf_count = 0;

  for (;;)
  {
    if (infer_reset_flag)
    {
      infer_reset_flag = 0;
      inf_count = 0;
      safe_strncpy_volatile(last_confirmed_label, "---", 24);
      confirmed_confidence = 0.0f;
      __disable_irq();
      for (int i = 0; i < INF_HIST_SIZE; i++)
        inf_hist_buf[i] = FindNoiseIdx();
      inf_hist_write = 0;
      __enable_irq();
      __disable_irq();
      mel_frame_count = 0;
      mel_frame_read_idx = 0;
      __enable_irq();
    }

    __disable_irq();
    int count = mel_frame_count;
    if (count > 0)
    {
      if (count > MEL_MAX_FRAMES / 2)
        count = MEL_MAX_FRAMES / 2;
      mel_frame_count -= count;
    }
    __enable_irq();

    if (count > 0)
    {
      int idx = mel_frame_read_idx;

      /* 串口 mel 输出（仅 SYS_OFF 状态） */
      if (system_state == SYS_OFF && serial_mel_output_enabled)
      {
        for (int f = 0; f < count; f++)
        {
          int slot = (idx + f) & (MEL_MAX_FRAMES - 1);
          /* 关中断复制，防止音频任务覆盖 */
          float local[MEL_NUM_FILTERS];
          __disable_irq();
          memcpy(local, mel_frames[slot], sizeof(local));
          __enable_irq();
          SerialProtocol_SendMelFrame(local, MEL_NUM_FILTERS);
        }
      }

      if (system_state == SYS_OFF)
      {
        /* OFF 状态：仅丢弃 */
      }
      else
      {
        for (int f = 0; f < count; f++)
        {
          int slot = (idx + f) & (MEL_MAX_FRAMES - 1);
          if (inf_count < INF_FRAME_WINDOW)
          {
            for (int m = 0; m < MEL_NUM_FILTERS; m++)
              inf_win[inf_count * INF_MEL_FILTERS + m] = mel_frames[slot][m];
            inf_count++;
          }
        }
        if (inf_count >= INF_FRAME_WINDOW)
        {
          float conf = 0.0f;
          uint32_t t0 = DWT->CYCCNT;
          int raw = Inference_Run(inf_win, &conf);
          uint32_t t1 = DWT->CYCCNT;
          last_inference_us = (t1 - t0) / 168;
          safe_strncpy_volatile(last_inference_label, g_active_model.class_display[raw], 24);
          last_confidence = conf;
          int capped = raw;
          float base_thresh = g_active_model.thresholds[raw];
          int is_start = ((CarCommand_t)g_active_model.class_map[raw] == CMD_START);
          float array_thresh = is_start ? base_thresh + 0.20f : base_thresh;
          float fast_thresh  = is_start ? 0.60f : array_thresh;
          if (conf < array_thresh)
            capped = FindNoiseIdx();

          int conf_pct = (int)(conf * 100.0f);

          uart_printf("[DBG] %s %d%% rms:%.0f\n", g_active_model.class_display[raw], conf_pct, (double)current_rms);

          if (conf >= fast_thresh && !IsNoise(raw))
          {
            uart_printf("[CMD] %s (fast %d%%)\n", g_active_model.class_display[raw], conf_pct);
              CarCommand_t cmd = (CarCommand_t)g_active_model.class_map[raw];
            safe_strncpy_volatile(last_confirmed_label, g_active_model.class_display[raw], 24);
            confirmed_confidence = conf;
            osMessageQueuePut(infCmdQueue, &cmd, 0, 0);
            for (int i = 0; i < INF_HIST_SIZE; i++)
              inf_hist_buf[i] = FindNoiseIdx();
            inf_hist_write = 0;
          }
          else
          {
            /* 通道 3: 跃升检测 — 相邻帧置信度跳变 ≥ 0.20 */
            int delta_cmd = -1;
            float cur_probs[MODEL_MAX_CLASSES] = {0};
            Inference_GetProbs(cur_probs, MODEL_MAX_CLASSES);
            for (int ci = 0; ci < (int)g_active_model.num_classes; ci++)
            {
              float delta = cur_probs[ci] - prev_probs[ci];
              if (delta >= 0.20f && !IsNoise(ci))
              {
                delta_cmd = ci;
                break;
              }
              prev_probs[ci] = cur_probs[ci];
            }
            if (delta_cmd >= 0)
            {
              uart_printf("[CMD] %s (delta %d%%)\n", g_active_model.class_display[delta_cmd],
                          (int)(cur_probs[delta_cmd] * 100.0f));
              CarCommand_t cmd = (CarCommand_t)g_active_model.class_map[delta_cmd];
              safe_strncpy_volatile(last_confirmed_label, g_active_model.class_display[delta_cmd], 24);
              confirmed_confidence = cur_probs[delta_cmd];
              osMessageQueuePut(infCmdQueue, &cmd, 0, 0);
              for (int i = 0; i < INF_HIST_SIZE; i++)
                inf_hist_buf[i] = FindNoiseIdx();
              inf_hist_write = 0;
            }
            else
            {
            InfHist_Push(capped);
            int vote = InfHist_DominantCmd();
            if (vote >= 0)
            {
              uart_printf("[CMD] %s (%d%%)\n", g_active_model.class_display[vote], (int)(conf * 100.0f));
              CarCommand_t cmd = (CarCommand_t)g_active_model.class_map[vote];
              safe_strncpy_volatile(last_confirmed_label, g_active_model.class_display[vote], 24);
              confirmed_confidence = conf;
              osMessageQueuePut(infCmdQueue, &cmd, 0, 0);
              for (int i = 0; i < INF_HIST_SIZE; i++)
                inf_hist_buf[i] = FindNoiseIdx();
              inf_hist_write = 0;
            }
            }
          }

          for (int i = 0; i < INF_FRAME_WINDOW / 2; i++)
            for (int m = 0; m < MEL_NUM_FILTERS; m++)
              inf_win[i * INF_MEL_FILTERS + m] =
                  inf_win[(i + INF_FRAME_WINDOW / 2) * INF_MEL_FILTERS + m];
          inf_count = INF_FRAME_WINDOW / 2;
        }
      }
      mel_frame_read_idx = (idx + count) & (MEL_MAX_FRAMES - 1);
    }

    osDelay(1);
  }
}

void CarStateTaskEntry(void *argument)
{
  uint32_t listening_start_tick = 0;
  uint32_t last_button_tick = 0;
  bool btn_was_pressed = false;
  uint32_t btn_press_start = 0;
  bool btn_long_triggered = false;

  for (;;)
  {
    bool btn_now = (HAL_GPIO_ReadPin(B1_GPIO_Port, B1_Pin) == GPIO_PIN_SET);

    if (btn_now && !btn_was_pressed)
    {
      btn_press_start = osKernelGetTickCount();
      btn_long_triggered = false;
    }

    if (btn_now && btn_was_pressed && !btn_long_triggered)
    {
      if (osKernelGetTickCount() - btn_press_start > 1000)
      {
        btn_long_triggered = true;
        if (g_active_model.source == MODEL_SOURCE_COMPILE)
        {
          if (ModelLoader_LoadSlot(MODEL_SOURCE_SLOT_A))
          {
            BSP_LED_Off(LED6);
            uart_printf("[MODEL] -> Flash (%dc)\n", g_active_model.num_classes);
          }
          else
          {
            uart_printf("[MODEL] Flash load failed!\n");
          }
        }
        else
        {
          ModelLoader_Fallback();
          BSP_LED_On(LED6);
          uart_printf("[MODEL] -> Compiled Base (%dc)\n", g_active_model.num_classes);
        }
      }
    }

    if (!btn_now && btn_was_pressed && !btn_long_triggered)
    {
      uint32_t held = osKernelGetTickCount() - btn_press_start;
      if (held >= 50 && held < 1000)
      {
        uint32_t now = osKernelGetTickCount();
        if (now - last_button_tick >= 200)
        {
          last_button_tick = now;
          if (system_state > SYS_OFF)
          {
            system_state = SYS_OFF;
            car_command = CMD_NONE;
            BSP_LED_Off(LED3);
            BSP_LED_Off(LED4);
            uart_printf("[SYS] OFF\n");
          }
          else
          {
            system_state = SYS_IDLE;
            infer_reset_flag = 1;
            BSP_LED_On(LED3);
            uart_printf("[SYS] IDLE\n");
          }
        }
      }
    }

    btn_was_pressed = btn_now;

    if (system_state == SYS_IDLE || system_state == SYS_LISTENING)
    {
      for (int drain = 0; drain < 8; drain++)
      {
        CarCommand_t cmd;
        if (osMessageQueueGet(infCmdQueue, &cmd, NULL, 0) != osOK)
          break;

        if (system_state == SYS_IDLE)
        {
          if (cmd == CMD_START)
          {
            /* 只有车在动（FORWARD/BACKWARD/TURN）时才静默
               - car_command == CMD_STOP 时立即可启动
               - 防止车还在跑就切到 LISTEN 模式 */
            bool car_is_moving = (car_command == CMD_FORWARD ||
                                  car_command == CMD_BACKWARD ||
                                  car_command == CMD_TURN);
            if (!car_is_moving)
            {
              Motor_Stop();
              car_command = CMD_STOP;
              system_state = SYS_LISTENING;
              BSP_LED_Off(LED3);
              BSP_LED_On(LED4);
              listening_start_tick = osKernelGetTickCount();
              uart_printf("[SYS] LISTENING (3s)\n");
              goto skip_queue;
            }
            else
            {
              uart_printf("[SYS] start ignored: car still moving (%s)\n", cmd_name[car_command]);
            }
          }
        }
        else if (system_state == SYS_LISTENING)
        {
          if (cmd != CMD_START)
          {
            uint32_t elapsed = osKernelGetTickCount() - listening_start_tick;
            if (elapsed < 500)
            {
              uart_printf("[SYS] cooldown, ignoring %s\n", cmd > CMD_STOP ? "?" : cmd_name[cmd]);
              continue;
            }
            car_command = cmd;
            system_state = SYS_IDLE;
            infer_reset_flag = 1;
            BSP_LED_On(LED3);
            BSP_LED_Off(LED4);
            switch(cmd)
            {
              default: break;
            }
            osMessageQueuePut(carCmdQueue, &cmd, 0, 0);
            uart_printf("[SYS] IDLE (cmd:%s)\n", cmd > CMD_STOP ? "?" : cmd_name[cmd]);
          }
          else
          {
            listening_start_tick = osKernelGetTickCount();
            uart_printf("[SYS] LISTENING (reset timer)\n");
          }
        }
      }
    }
  skip_queue:

    if (system_state == SYS_LISTENING)
    {
      uint32_t elapsed = osKernelGetTickCount() - listening_start_tick;
      if (elapsed >= LISTENING_DURATION_MS)
      {
        system_state = SYS_IDLE;
        infer_reset_flag = 1;
        BSP_LED_On(LED3);
        BSP_LED_Off(LED4);
        uart_printf("[SYS] IDLE (timeout)\n");
      }
    }

    osDelay(10);
  }
}

void CarControlTaskEntry(void *argument)
{
  uint32_t last_sensor_tick = 0;
  uint32_t last_sonar_tick = 0;
  CarCommand_t prev = CMD_NONE;

  uint32_t last_tap_tick = 0;
  int tap_count = 0;
  uint32_t lift_tick = 0;
  int lift_reported = 0;
  uint32_t auto_begin_tick = 0;

  for (;;)
  {
    CarCommand_t cmd;
    if (osMessageQueueGet(carCmdQueue, &cmd, NULL, 10) == osOK)
    {
      if (cmd != prev)
      {
        prev = cmd;
        lift_reported = 0;

        switch (cmd)
        {
          case CMD_FORWARD:
            uart_printf("[CAR] GO FORWARD\n");
            Motor_Forward();
            auto_begin_tick = osKernelGetTickCount();
            break;
          case CMD_BACKWARD:
            uart_printf("[CAR] GO BACKWARD\n");
            Motor_Backward();
            auto_begin_tick = osKernelGetTickCount();
            break;
          case CMD_TURN:
            uart_printf("[CAR] TANK TURN\n");
            Motor_TurnLeft();
            auto_begin_tick = osKernelGetTickCount();
            break;
          case CMD_STOP:
            uart_printf("[CAR] STOP\n");
            Motor_Stop();
            break;
          default:
            break;
        }
      }
    }

    /* ── Auto-stop after 5s ── */
    if (auto_begin_tick != 0 && (car_command == CMD_FORWARD || car_command == CMD_BACKWARD || car_command == CMD_TURN))
    {
      if (osKernelGetTickCount() - auto_begin_tick >= 5000)
      {
        uart_printf("[CAR] AUTO-STOP (5s timeout)\n");
        car_command = CMD_STOP;
        prev = CMD_STOP;
        Motor_Stop();
        auto_begin_tick = 0;
      }
    }

    uint32_t now = osKernelGetTickCount();

    /* ── Accelerometer: 50Hz ── */
    if (now - last_sensor_tick >= 20)
    {
      last_sensor_tick = now;

      BSP_ACCELERO_GetXYZ(accel_xyz);
      int ax = accel_xyz[0], ay = accel_xyz[1], az = accel_xyz[2];
      int mag_sq = ax*ax + ay*ay + az*az;

      /* ── Double-tap wake (disabled, use button instead) ── */
      #if 0
      if (mag_sq > 5760000 && now - last_tap_tick > 200)
      {
        last_tap_tick = now;
        tap_count++;
      }

      if (tap_count >= 2 && now - last_tap_tick < 500)
      {
        tap_count = 0;
        if (system_state == SYS_OFF)
        {
          system_state = SYS_IDLE;
          infer_reset_flag = 1;
          BSP_LED_On(LED3);
          uart_printf("[SYS] IDLE (double-tap)\n");
        }
      }

      if (tap_count > 0 && now - last_tap_tick > 500)
        tap_count = 0;
      #endif

      /* ── Pickup / tilt detection (only when powered on) ── */
      /* Tilt > 45° (az_abs < 700) held for 300ms → picked up / tipped over */
      if (system_state != SYS_OFF)
      {
        int az_abs = az > 0 ? az : -az;

        if (az_abs < 700 && !lift_reported)
        {
          if (lift_tick == 0)
            lift_tick = now;
          else if (now - lift_tick > 300)
          {
            lift_reported = 1;
            lift_tick = 0;
            if (car_command != CMD_STOP)
            {
              car_command = CMD_STOP;
              prev = CMD_STOP;
              Motor_Stop();
            }
            uart_printf("[ACCEL] PICKED UP! az=%d\n", az);
          }
        }
        else
        {
          lift_tick = 0;
          if (az_abs > 900) lift_reported = 0;
        }
      }

      /* ── Collision detection (only while moving) ── */
      {
        static int prev_ax = 0, prev_ay = 0, prev_az = 0;
        if (prev_ax != 0) /* skip first read */
        {
          int moving = (car_command == CMD_FORWARD || car_command == CMD_BACKWARD || car_command == CMD_TURN);
          if (moving && system_state != SYS_OFF)
          {
            int dx = ax - prev_ax;
            int dy = ay - prev_ay;
            if (dx > 1500 || dx < -1500 || dy > 1500 || dy < -1500)
            {
              uart_printf("[ACCEL] COLLISION! dx=%d dy=%d az=%d\n", dx, dy, az);
              car_command = CMD_STOP;
              prev = CMD_STOP;
              Motor_Stop();
            }
          }
        }
        prev_ax = ax; prev_ay = ay; prev_az = az;
      }
    }

    /* ── Ultrasonic + STAT: 200ms ── */
    if (now - last_sonar_tick >= 200)
    {
      last_sonar_tick = now;

      float dist = HCSR04_GetDistance();
      ultrasonic_distance = dist;

      (void)dist;

      if (car_command == CMD_FORWARD && system_state != SYS_OFF
          && dist > 0 && dist < OBSTACLE_THRESHOLD_MM)
      {
        car_command = CMD_STOP;
        prev = CMD_STOP;
        Motor_Stop();
        uart_printf("[CAR] OBSTACLE! STOP (%.0fmm)\n", dist);
      }
    }

    osDelay(10);
  }
}

void DisplayTaskEntry(void *argument)
{
  for (;;)
  {
    const char *state_str =
      system_state==SYS_OFF?"OFF":system_state==SYS_LISTENING?"LISTEN":"IDLE";

    const char *cmd_str =
      car_command==CMD_FORWARD?"forward":car_command==CMD_BACKWARD?"backward":
      car_command==CMD_TURN?"turn":car_command==CMD_START?"start":
      car_command==CMD_STOP?"stop":"---";

    int conf_pct = (int)(confirmed_confidence * 100.0f);
    if (conf_pct < 0) conf_pct = 0;
    if (conf_pct > 100) conf_pct = 100;

    OLED_Clear();

    OLED_Printf(0, 0,  OLED_6X8, "S:%s", state_str);
    OLED_Printf(0, 10, OLED_6X8, "%s %d%%", last_confirmed_label, conf_pct);
    OLED_Printf(0, 20, OLED_6X8, "CMD:%s", cmd_str);
    OLED_Printf(0, 30, OLED_6X8, "DIS:%.0fmm", ultrasonic_distance);

    OLED_Update();

    osDelay(200);
  }
}

void SerialTaskEntry(void *argument)
{
  (void)argument;
  for (;;)
  {
    SerialProtocol_Process();

    CmdFrame_t cmd;
    while (SerialProtocol_GetCmd(&cmd))
    {
      switch (cmd.cmd)
      {
        case CMD_UPLOAD_START:
        {
          if (cmd.payload_len >= 5) {
            if (flash_update_state != FLASH_UPDATE_IDLE) {
              FlashUpdate_Init();
            }
            uint8_t slot = cmd.payload[0];
            uint32_t size = *(uint32_t *)(cmd.payload + 1);
            uint8_t state_before = flash_update_state;
            FlashUpdate_Start(slot, size);
            uint8_t resp[8];
            resp[0] = (flash_update_state == FLASH_UPDATE_RECEIVING) ? 0x01 : 0x00;
            resp[1] = flash_update_state;
            resp[2] = state_before;
            resp[3] = (uint8_t)(size & 0xFF);
            resp[4] = (uint8_t)((size >> 8) & 0xFF);
            resp[5] = slot;
            extern volatile uint8_t flash_update_last_error;
            resp[6] = flash_update_last_error;
            resp[7] = (uint8_t)(MODEL_AREA_SIZE & 0xFF);
            SerialProtocol_SendFrame(0x81, resp, 8);
          }
          break;
        }
        case CMD_UPLOAD_DATA:
        {
          if (flash_update_state == FLASH_UPDATE_RECEIVING && cmd.payload_len > 0) {
            FlashUpdate_ReceiveData(cmd.payload, cmd.payload_len);
            uint8_t ack = 0x01;
            SerialProtocol_SendFrame(0x82, &ack, 1);
          }
          break;
        }
        case CMD_UPLOAD_FINISH:
        {
          if (cmd.payload_len >= 4) {
            uint32_t crc = *(uint32_t *)cmd.payload;
            FlashUpdate_Finish(crc);
          }
          break;
        }
        case CMD_SWITCH_MODEL:
        {
          if (cmd.payload_len >= 1) {
            uint8_t slot = cmd.payload[0];
            bool ok = ModelLoader_LoadSlot(slot);
            if (!ok) ModelLoader_Fallback();
            infer_reset_flag = 1;
            if (g_active_model.source == MODEL_SOURCE_COMPILE)
              BSP_LED_On(LED6);
            else
              BSP_LED_Off(LED6);
            ModelLoader_DumpModelInfo("SWITCH");  /* 切换模型后再次自检 */
            uint8_t resp[2] = { ok ? 0x01 : 0x00, g_active_model.source };
            SerialProtocol_SendFrame(0x84, resp, 2);
          }
          break;
        }
        case CMD_RESET_MODEL:
        {
          ModelLoader_Fallback();
          ModelLoader_DumpModelInfo("RESET");  /* 复位后再次自检 */
          BSP_LED_On(LED6);
          uint8_t ack = 0x01;
          SerialProtocol_SendFrame(0x86, &ack, 1);
          break;
        }
        case CMD_QUERY_STATUS:
        {
          uint8_t resp[32];
          uint8_t idx = 0;
          resp[idx++] = g_active_model.source;
          resp[idx++] = g_active_model.num_classes;
          resp[idx++] = (uint8_t)system_state;
          resp[idx++] = (uint8_t)car_command;
          resp[idx++] = (uint8_t)flash_update_state;
          resp[idx++] = flash_update_progress;
          memcpy(&resp[idx], &ultrasonic_distance, 4);
          idx += 4;
          resp[idx++] = (uint8_t)car_command;
          SerialProtocol_SendFrame(0x85, resp, idx);
          break;
        }
        case CMD_SET_MEL_OUTPUT:
        {
          if (cmd.payload_len >= 1) {
            serial_mel_output_enabled = cmd.payload[0];
          }
          uint8_t ack = serial_mel_output_enabled;
          SerialProtocol_SendFrame(0x87, &ack, 1);
          break;
        }
        case CMD_QUERY_MODEL_INFO:
        {
          uint8_t resp[260];
          uint8_t idx = 0;
          resp[idx++] = g_active_model.source;
          resp[idx++] = g_active_model.num_classes;
          resp[idx++] = (uint8_t)system_state;
          for (int i = 0; i < g_active_model.num_classes && i < MODEL_MAX_CLASSES; i++) {
            for (int j = 0; j < MODEL_CLASS_NAME_LEN; j++) {
              resp[idx++] = g_active_model.class_display[i][j];
            }
          }
          for (int i = 0; i < g_active_model.num_classes && i < MODEL_MAX_CLASSES; i++) {
            resp[idx++] = g_active_model.class_map[i];
          }
          SerialProtocol_SendFrame(0x88, resp, idx);
          break;
        }
        default:
          break;
      }
    }

    osDelay(10);
  }
}

/* USER CODE END 4 */

void HAL_TIM_PeriodElapsedCallback(TIM_HandleTypeDef *htim)
{
  if (htim->Instance == TIM14)
  {
    HAL_IncTick();
  }
}

void Error_Handler(void)
{
  __disable_irq();
  while (1)
  {
  }
}

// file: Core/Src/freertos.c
/**
 * @file    freertos.c
 * @brief   FreeRTOS 5任务初始化 — Audio/Inference/CarState/CarControl/Display
 * @author  北京林业大学 理学院 无敌小车车
 * @advisor 张立
 */

/* USER CODE BEGIN Header */
/**
  ******************************************************************************
  * File Name          : freertos.c
  * Description        : Code for freertos applications
  ******************************************************************************
  * @attention
  *
  * Copyright (c) 2026 STMicroelectronics.
  * All rights reserved.
  *
  * This software is licensed under terms that can be found in the LICENSE file
  * in the root directory of this software component.
  * If no LICENSE file comes with this software, it is provided AS-IS.
  *
  ******************************************************************************
  */
/* USER CODE END Header */

#include "FreeRTOS.h"
#include "task.h"
#include "main.h"
#include "cmsis_os.h"

/* Definitions for tasks */
osThreadId_t audioTaskHandle;
const osThreadAttr_t audioTask_attributes = {
  .name = "audioTask",
  .stack_size = 1024 * 3,
  .priority = (osPriority_t) osPriorityNormal,
};

osThreadId_t inferenceTaskHandle;
const osThreadAttr_t inferenceTask_attributes = {
  .name = "inferenceTask",
  .stack_size = 2048 * 3,
  .priority = (osPriority_t) osPriorityNormal,
};

osThreadId_t carStateTaskHandle;
const osThreadAttr_t carStateTask_attributes = {
  .name = "carStateTask",
  .stack_size = 512 * 3,
  .priority = (osPriority_t) osPriorityNormal,
};

osThreadId_t carControlTaskHandle;
const osThreadAttr_t carControlTask_attributes = {
  .name = "carControlTask",
  .stack_size = 512 * 3,
  .priority = (osPriority_t) osPriorityNormal,
};

osThreadId_t displayTaskHandle;
const osThreadAttr_t displayTask_attributes = {
  .name = "displayTask",
  .stack_size = 1024 * 2,
  .priority = (osPriority_t) osPriorityBelowNormal,
};

osThreadId_t serialTaskHandle;
const osThreadAttr_t serialTask_attributes = {
  .name = "serialTask",
  .stack_size = 512 * 4,
  .priority = (osPriority_t) osPriorityNormal,
};

osThreadId_t flashUpdateTaskHandle;
const osThreadAttr_t flashUpdateTask_attributes = {
  .name = "flashUpdateTask",
  .stack_size = 512 * 4,
  .priority = (osPriority_t) osPriorityAboveNormal,
};

void MX_FREERTOS_Init(void); /* (MISRA C 2004 rule 8.1) */

void MX_FREERTOS_Init(void) {
  /* USER CODE BEGIN Init */
  App_InitQueues();
  /* USER CODE END Init */

  /* Create the thread(s) */
  audioTaskHandle = osThreadNew(AudioTaskEntry, NULL, &audioTask_attributes);
  inferenceTaskHandle = osThreadNew(InferenceTaskEntry, NULL, &inferenceTask_attributes);
  carStateTaskHandle = osThreadNew(CarStateTaskEntry, NULL, &carStateTask_attributes);
  carControlTaskHandle = osThreadNew(CarControlTaskEntry, NULL, &carControlTask_attributes);
  displayTaskHandle = osThreadNew(DisplayTaskEntry, NULL, &displayTask_attributes);
  serialTaskHandle = osThreadNew(SerialTaskEntry, NULL, &serialTask_attributes);
  flashUpdateTaskHandle = osThreadNew(FlashUpdateTaskEntry, NULL, &flashUpdateTask_attributes);

}
